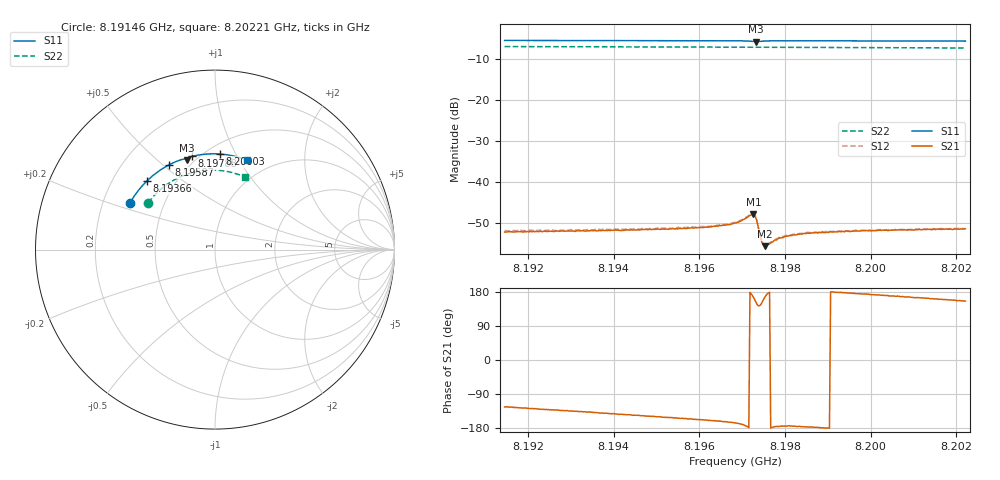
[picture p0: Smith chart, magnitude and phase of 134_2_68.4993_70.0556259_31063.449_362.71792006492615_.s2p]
#  HZ  S  RI  R  50.00
! Rohde & Schwarz Vector Network Analyzer
! Rohde-Schwarz,ZNB20-2Port,1311601062101988,3.16
! Created: UTC 3/20/2024, 5:09:44 PM
! freq[Hz]  re:S11  im:S11  re:S21  im:S21  re:S12  im:S12  re:S22  im:S22
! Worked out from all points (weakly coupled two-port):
!   401 points, 8.19146 GHz to 8.20221 GHz, reference 50 ohm
!   highest |S21| = -47.91 dB at 8.19726 GHz (marker M1); lowest = -55.7 dB at 8.19753 GHz (marker M2)
!   lowest |S11| = -5.7 dB at 8.19732 GHz (marker M3), VSWR 3.18, Z = 22.9 + j31.3 ohm
!   |S11| at or under -10 dB: nowhere
!   |S22| runs from -7.2 to -6.8 dB; largest |S21 - S12| = 0.0002
!   S11 on the Smith chart (normalised r, x): 8.19146 GHz: 0.32, +0.23; 8.19366 GHz: 0.35, +0.37; 8.19587 GHz: 0.40, +0.52; 8.19788 GHz: 0.46, +0.67; 8.20003 GHz: 0.58, +0.86; 8.20221 GHz: 0.77, +1.08
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8.19146e9  -0.4746 0.2579  -0.00136 -0.00202  -0.00146 -0.00207  -0.3719 0.2614
8.19326e9  -0.4008 0.3605  -0.00182 -0.00175  -0.00195 -0.0017  -0.3041 0.3349
8.193663e9  -0.3809 0.3809  -0.00194 -0.00165  -0.00205 -0.00166  -0.2865 0.349
8.19506e9  -0.3047 0.4431  -0.00227 -0.00134  -0.00237 -0.00126  -0.221 0.3917
8.195867e9  -0.2557 0.4722  -0.00249 -0.0011  -0.00261 -0.00104  -0.18 0.4107
8.196511e9  -0.2137 0.4919  -0.00277 -0.000905  -0.00285 -0.000866  -0.1459 0.423
8.196834e9  -0.1911 0.5  -0.00303 -0.000761  -0.00315 -0.000651  -0.1284 0.428
8.196968e9  -0.1811 0.5029  -0.00326 -0.00063  -0.00338 -0.00053  -0.121 0.43
8.19721e9  -0.1607 0.5028  -0.00394 0.000356  -0.004 0.00051  -0.1076 0.4328
8.197264e9  -0.1574 0.5001  -0.00389 0.00101  -0.00391 0.00117  -0.1047 0.4335
8.197318e9  -0.1575 0.4971  -0.00327 0.00167  -0.00329 0.00183  -0.1019 0.4339
8.197344e9  -0.1586 0.4969  -0.00279 0.00176  -0.00279 0.0019  -0.1004 0.4342
8.197452e9  -0.1587 0.504  -0.00162 0.000974  -0.00162 0.00107  -0.0946 0.4355
8.197479e9  -0.1572 0.5059  -0.00158 0.000723  -0.00162 0.00081  -0.0931 0.4359
8.197533e9  -0.1535 0.5092  -0.00159 0.00039  -0.00159 0.000493  -0.0901 0.4364
8.197586e9  -0.1496 0.5116  -0.00166 0.000155  -0.00171 0.000219  -0.0873 0.4369
8.197882e9  -0.1272 0.5194  -0.00205 -0.000185  -0.00209 -9.56e-05  -0.0706 0.4394
8.198151e9  -0.1077 0.5239  -0.0022 -0.000221  -0.00225 -0.000112  -0.0554 0.4412
8.198634e9  -0.0733 0.5293  -0.00237 -0.000142  -0.00242 -3.36e-05  -0.0282 0.4428
8.200031e9  0.0257 0.5325  -0.00251 0.000341  -0.00251 0.000441  0.0512 0.4383
8.200434e9  0.0542 0.5298  -0.00251 0.000505  -0.00255 0.000564  0.0736 0.4341
8.202208e9  0.1758 0.5004  -0.00243 0.00111  -0.00239 0.00117  0.1699 0.4026
